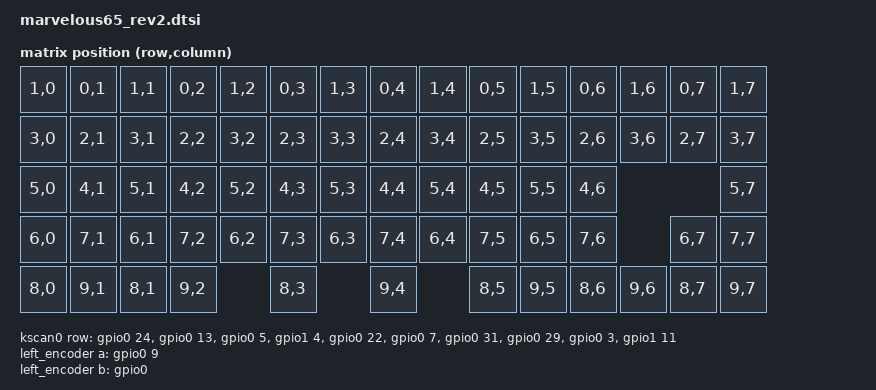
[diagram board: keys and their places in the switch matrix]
/*
 * Copyright (c) 2020 The ZMK Contributors
 *
 * SPDX-License-Identifier: MIT
 */

#include <dt-bindings/zmk/matrix-transform.h>

/ {
    chosen {
        zmk,kscan = &kscan0;
        zmk,matrix_transform = &default_transform;
    };

    default_transform: keymap_transform_0 {
        compatible = "zmk,matrix-transform";
        columns = <8>;
        rows = <10>;

        map = <
RC(1,0) RC(0,1) RC(1,1) RC(0,2) RC(1,2) RC(0,3) RC(1,3) RC(0,4) RC(1,4) RC(0,5) RC(1,5) RC(0,6) RC(1,6) RC(0,7) RC(1,7)  
RC(3,0) RC(2,1) RC(3,1) RC(2,2) RC(3,2) RC(2,3) RC(3,3) RC(2,4) RC(3,4) RC(2,5) RC(3,5) RC(2,6) RC(3,6) RC(2,7) RC(3,7)
RC(5,0) RC(4,1) RC(5,1) RC(4,2) RC(5,2) RC(4,3) RC(5,3) RC(4,4) RC(5,4) RC(4,5) RC(5,5) RC(4,6)                 RC(5,7)
RC(6,0) RC(7,1) RC(6,1) RC(7,2) RC(6,2) RC(7,3) RC(6,3) RC(7,4) RC(6,4) RC(7,5) RC(6,5) RC(7,6)         RC(6,7) RC(7,7)
RC(8,0) RC(9,1) RC(8,1) RC(9,2)         RC(8,3)         RC(9,4)         RC(8,5) RC(9,5) RC(8,6) RC(9,6) RC(8,7) RC(9,7)

        >;
    };

    kscan0: kscan_0 {
        compatible = "zmk,kscan-gpio-matrix";
        label = "KSCAN";
        diode-direction = "col2row";
        
        row-gpios
            = <&gpio0 24 (GPIO_ACTIVE_HIGH | GPIO_PULL_DOWN)>
            , <&gpio0 13 (GPIO_ACTIVE_HIGH | GPIO_PULL_DOWN)>
            , <&gpio0 5 (GPIO_ACTIVE_HIGH | GPIO_PULL_DOWN)>
            , <&gpio1 4 (GPIO_ACTIVE_HIGH | GPIO_PULL_DOWN)>
            , <&gpio0 22 (GPIO_ACTIVE_HIGH | GPIO_PULL_DOWN)>
            , <&gpio0 7 (GPIO_ACTIVE_HIGH | GPIO_PULL_DOWN)>
            , <&gpio0 31 (GPIO_ACTIVE_HIGH | GPIO_PULL_DOWN)>
            , <&gpio0 29 (GPIO_ACTIVE_HIGH | GPIO_PULL_DOWN)>
            , <&gpio0 3 (GPIO_ACTIVE_HIGH | GPIO_PULL_DOWN)>
            , <&gpio1 11 (GPIO_ACTIVE_HIGH | GPIO_PULL_DOWN)>
            ;
    };

    left_encoder: encoder_left {
		compatible = "alps,ec11";
		label = "LEFT_ENCODER";
		a-gpios = <&gpio0 9 (GPIO_ACTIVE_HIGH | GPIO_PULL_UP)>;
		b-gpios = <&gpio0 10(GPIO_ACTIVE_HIGH | GPIO_PULL_UP)>;
		resolution = <4>;
        status = "disabled";
	};

	sensors {
		compatible = "zmk,keymap-sensors";
		sensors = <&left_encoder>;
	};
};


&pro_micro_i2c {
	status = "okay";

	oled: ssd1306@3c {
		compatible = "solomon,ssd1306fb";
		reg = <0x3c>;
		label = "DISPLAY";
		width = <128>;
		height = <32>;
		segment-offset = <0>;
		page-offset = <0>;
		display-offset = <0>;
		multiplex-ratio = <31>;
		segment-remap;
		com-invdir;
		com-sequential;
		prechargep = <0x22>;
	};
};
